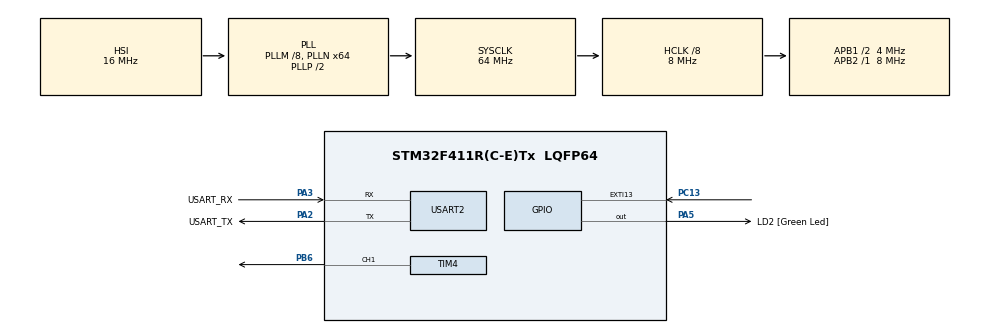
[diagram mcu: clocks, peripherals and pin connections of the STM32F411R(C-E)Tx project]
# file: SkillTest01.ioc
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Mcu.Family=STM32F4
Mcu.Name=STM32F411R(C-E)Tx
Mcu.Package=LQFP64
NVIC.EXTI15_10_IRQn=true\:0\:0\:false\:false\:true\:true\:true\:true
NVIC.PriorityGroup=NVIC_PRIORITYGROUP_0
NVIC.TIM4_IRQn=true\:0\:0\:false\:false\:true\:true\:true\:true
NVIC.USART2_IRQn=true\:0\:0\:false\:false\:true\:true\:true\:true
PA14.GPIO_Label=TCK
PA14.Signal=SYS_JTCK-SWCLK
PA2.GPIO_Label=USART_TX
PA2.Mode=Asynchronous
PA2.Signal=USART2_TX
PA3.GPIO_Label=USART_RX
PA3.Mode=Asynchronous
PA3.Signal=USART2_RX
PA5.GPIO_Label=LD2 [Green Led]
PA5.Signal=GPIO_Output
PB3.GPIO_Label=SWO
PB3.Signal=SYS_JTDO-SWO
PB6.Signal=S_TIM4_CH1
PC13-ANTI_TAMP.Signal=GPXTI13
PC14-OSC32_IN.Mode=LSE-External-Oscillator
PC14-OSC32_IN.Signal=RCC_OSC32_IN
PC15-OSC32_OUT.Mode=LSE-External-Oscillator
PC15-OSC32_OUT.Signal=RCC_OSC32_OUT
PH0\ -\ OSC_IN.Mode=HSE-External-Clock-Source
PH0\ -\ OSC_IN.Signal=RCC_OSC_IN
PH1\ -\ OSC_OUT.Mode=HSE-External-Clock-Source
PH1\ -\ OSC_OUT.Signal=RCC_OSC_OUT
ProjectManager.HeapSize=0x200
ProjectManager.StackSize=0x400
ProjectManager.TargetToolchain=STM32CubeIDE
RCC.48MHZClocksFreq_Value=32000000
RCC.AHBCLKDivider=RCC_SYSCLK_DIV8
RCC.AHBFreq_Value=8000000
RCC.APB1CLKDivider=RCC_HCLK_DIV2
RCC.APB1Freq_Value=4000000
RCC.APB1TimFreq_Value=8000000
RCC.APB2Freq_Value=8000000
RCC.APB2TimFreq_Value=8000000
RCC.CortexFreq_Value=8000000
RCC.FLatency-AdvancedSettings=FLASH_LATENCY_0
RCC.HCLKFreq_Value=8000000
RCC.HSE_VALUE=8000000
RCC.HSI_VALUE=16000000
RCC.PLLM=8
RCC.PLLN=64
RCC.SYSCLKFreq_VALUE=64000000
RCC.SYSCLKSource=RCC_SYSCLKSOURCE_PLLCLK
RCC.VCOOutputFreq_Value=128000000
SH.S_TIM4_CH1.0=TIM4_CH1,PWM Generation1 CH1
TIM4.Channel-PWM\ Generation1\ CH1=TIM_CHANNEL_1
TIM4.Period=1999
TIM4.Prescaler=980
TIM4.Pulse-PWM\ Generation1\ CH1=1000
USART2.VirtualMode=VM_ASYNC
VP_TIM4_VS_ClockSourceINT.Mode=Internal
board=NUCLEO-F411RE

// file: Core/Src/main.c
/* USER CODE BEGIN Header */
/**
 ******************************************************************************
 * @file           : main.c
 * @brief          : Main program body
 ******************************************************************************
 * @attention
 *
 * Copyright (c) 2024 STMicroelectronics.
 * All rights reserved.
 *
 * This software is licensed under terms that can be found in the LICENSE file
 * in the root directory of this software component.
 * If no LICENSE file comes with this software, it is provided AS-IS.
 *
 ******************************************************************************
 */
/* USER CODE END Header */
#include "main.h"

TIM_HandleTypeDef htim4;

UART_HandleTypeDef huart2;

/* USER CODE BEGIN PV */

uint8_t state = 0; // State LED 0-4, State Input 5
uint8_t buttonClick = 0;
uint8_t c;
uint8_t MESSAGE[] = "Started..\n\r";
uint16_t MESSAGE_SIZE = sizeof(MESSAGE);
uint32_t currentMillis = 0;
uint32_t previousMillis = 0;

/* USER CODE END PV */

void SystemClock_Config(void);
static void MX_GPIO_Init(void);
static void MX_USART2_UART_Init(void);
static void MX_TIM4_Init(void);
/* USER CODE BEGIN PFP */

void HAL_GPIO_EXTI_Callback(uint16_t GPIO_Pin) {
	currentMillis = HAL_GetTick();
	if (currentMillis - previousMillis > 200) {
		if (state == 5)
			buttonClick++;
		previousMillis = currentMillis;
	}
}

/* USER CODE END PFP */

int main(void)
{

  /* MCU Configuration--------------------------------------------------------*/

  /* Reset of all peripherals, Initializes the Flash interface and the Systick. */
  HAL_Init();

  /* Configure the system clock */
  SystemClock_Config();

  /* Initialize all configured peripherals */
  MX_GPIO_Init();
  MX_USART2_UART_Init();
  MX_TIM4_Init();
  /* USER CODE BEGIN 2 */

	currentMillis = HAL_GetTick();
	previousMillis = HAL_GetTick();
	HAL_TIM_Base_Start(&htim4);
	HAL_TIM_PWM_Start(&htim4, TIM_CHANNEL_1);
	HAL_UART_Transmit(&huart2, MESSAGE, MESSAGE_SIZE, 1000);
	HAL_GPIO_WritePin(GPIOA, GPIO_PIN_5, GPIO_PIN_SET);

  /* USER CODE END 2 */

  /* Infinite loop */
	while (1) {

    /* USER CODE BEGIN 3 */
		HAL_UART_Receive(&huart2, &c, 1, 100);
		if (c == 'S' && state != 5) {
			HAL_UART_Transmit(&huart2, "S", 2, 100);
			state = 5;
			buttonClick = 0;
		}
		if (state == 5 && c == 'R') {
			uint8_t buffer[3];
			sprintf(buffer, "%dR", buttonClick);
			buttonClick = 0;
			HAL_UART_Transmit(&huart2, buffer, 3, 100);
			state = 0;
		}
		if (state != 5) {
			if (state == 0) HAL_GPIO_WritePin(GPIOA, GPIO_PIN_5, GPIO_PIN_SET);
			else HAL_GPIO_WritePin(GPIOA, GPIO_PIN_5, GPIO_PIN_RESET);
			HAL_Delay(20);
			state = (state + 1) % 4;
		}

	}
  /* USER CODE END 3 */
}

void SystemClock_Config(void)
{
  RCC_OscInitTypeDef RCC_OscInitStruct = {0};
  RCC_ClkInitTypeDef RCC_ClkInitStruct = {0};

  /** Configure the main internal regulator output voltage
  */
  __HAL_RCC_PWR_CLK_ENABLE();
  __HAL_PWR_VOLTAGESCALING_CONFIG(PWR_REGULATOR_VOLTAGE_SCALE1);

  /** Initializes the RCC Oscillators according to the specified parameters
  * in the RCC_OscInitTypeDef structure.
  */
  RCC_OscInitStruct.OscillatorType = RCC_OSCILLATORTYPE_HSI;
  RCC_OscInitStruct.HSIState = RCC_HSI_ON;
  RCC_OscInitStruct.HSICalibrationValue = RCC_HSICALIBRATION_DEFAULT;
  RCC_OscInitStruct.PLL.PLLState = RCC_PLL_ON;
  RCC_OscInitStruct.PLL.PLLSource = RCC_PLLSOURCE_HSI;
  RCC_OscInitStruct.PLL.PLLM = 8;
  RCC_OscInitStruct.PLL.PLLN = 64;
  RCC_OscInitStruct.PLL.PLLP = RCC_PLLP_DIV2;
  RCC_OscInitStruct.PLL.PLLQ = 4;
  if (HAL_RCC_OscConfig(&RCC_OscInitStruct) != HAL_OK)
  {
    Error_Handler();
  }

  /** Initializes the CPU, AHB and APB buses clocks
  */
  RCC_ClkInitStruct.ClockType = RCC_CLOCKTYPE_HCLK|RCC_CLOCKTYPE_SYSCLK
                              |RCC_CLOCKTYPE_PCLK1|RCC_CLOCKTYPE_PCLK2;
  RCC_ClkInitStruct.SYSCLKSource = RCC_SYSCLKSOURCE_PLLCLK;
  RCC_ClkInitStruct.AHBCLKDivider = RCC_SYSCLK_DIV8;
  RCC_ClkInitStruct.APB1CLKDivider = RCC_HCLK_DIV2;
  RCC_ClkInitStruct.APB2CLKDivider = RCC_HCLK_DIV1;

  if (HAL_RCC_ClockConfig(&RCC_ClkInitStruct, FLASH_LATENCY_0) != HAL_OK)
  {
    Error_Handler();
  }
}

static void MX_TIM4_Init(void)
{

  TIM_ClockConfigTypeDef sClockSourceConfig = {0};
  TIM_MasterConfigTypeDef sMasterConfig = {0};
  TIM_OC_InitTypeDef sConfigOC = {0};

  htim4.Instance = TIM4;
  htim4.Init.Prescaler = 980;
  htim4.Init.CounterMode = TIM_COUNTERMODE_UP;
  htim4.Init.Period = 1999;
  htim4.Init.ClockDivision = TIM_CLOCKDIVISION_DIV1;
  htim4.Init.AutoReloadPreload = TIM_AUTORELOAD_PRELOAD_DISABLE;
  if (HAL_TIM_Base_Init(&htim4) != HAL_OK)
  {
    Error_Handler();
  }
  sClockSourceConfig.ClockSource = TIM_CLOCKSOURCE_INTERNAL;
  if (HAL_TIM_ConfigClockSource(&htim4, &sClockSourceConfig) != HAL_OK)
  {
    Error_Handler();
  }
  if (HAL_TIM_PWM_Init(&htim4) != HAL_OK)
  {
    Error_Handler();
  }
  sMasterConfig.MasterOutputTrigger = TIM_TRGO_RESET;
  sMasterConfig.MasterSlaveMode = TIM_MASTERSLAVEMODE_DISABLE;
  if (HAL_TIMEx_MasterConfigSynchronization(&htim4, &sMasterConfig) != HAL_OK)
  {
    Error_Handler();
  }
  sConfigOC.OCMode = TIM_OCMODE_PWM1;
  sConfigOC.Pulse = 1000;
  sConfigOC.OCPolarity = TIM_OCPOLARITY_HIGH;
  sConfigOC.OCFastMode = TIM_OCFAST_DISABLE;
  if (HAL_TIM_PWM_ConfigChannel(&htim4, &sConfigOC, TIM_CHANNEL_1) != HAL_OK)
  {
    Error_Handler();
  }
  HAL_TIM_MspPostInit(&htim4);

}

static void MX_USART2_UART_Init(void)
{

  huart2.Instance = USART2;
  huart2.Init.BaudRate = 115200;
  huart2.Init.WordLength = UART_WORDLENGTH_8B;
  huart2.Init.StopBits = UART_STOPBITS_1;
  huart2.Init.Parity = UART_PARITY_NONE;
  huart2.Init.Mode = UART_MODE_TX_RX;
  huart2.Init.HwFlowCtl = UART_HWCONTROL_NONE;
  huart2.Init.OverSampling = UART_OVERSAMPLING_16;
  if (HAL_UART_Init(&huart2) != HAL_OK)
  {
    Error_Handler();
  }

}

static void MX_GPIO_Init(void)
{
  GPIO_InitTypeDef GPIO_InitStruct = {0};

  /* GPIO Ports Clock Enable */
  __HAL_RCC_GPIOC_CLK_ENABLE();
  __HAL_RCC_GPIOH_CLK_ENABLE();
  __HAL_RCC_GPIOA_CLK_ENABLE();
  __HAL_RCC_GPIOB_CLK_ENABLE();

  /*Configure GPIO pin Output Level */
  HAL_GPIO_WritePin(LD2_GPIO_Port, LD2_Pin, GPIO_PIN_RESET);

  /*Configure GPIO pin : PC13 */
  GPIO_InitStruct.Pin = GPIO_PIN_13;
  GPIO_InitStruct.Mode = GPIO_MODE_IT_RISING;
  GPIO_InitStruct.Pull = GPIO_NOPULL;
  HAL_GPIO_Init(GPIOC, &GPIO_InitStruct);

  /*Configure GPIO pin : LD2_Pin */
  GPIO_InitStruct.Pin = LD2_Pin;
  GPIO_InitStruct.Mode = GPIO_MODE_OUTPUT_PP;
  GPIO_InitStruct.Pull = GPIO_NOPULL;
  GPIO_InitStruct.Speed = GPIO_SPEED_FREQ_LOW;
  HAL_GPIO_Init(LD2_GPIO_Port, &GPIO_InitStruct);

  /* EXTI interrupt init*/
  HAL_NVIC_SetPriority(EXTI15_10_IRQn, 0, 0);
  HAL_NVIC_EnableIRQ(EXTI15_10_IRQn);

}

void Error_Handler(void)
{
	__disable_irq();
	while (1) {
	}
}
